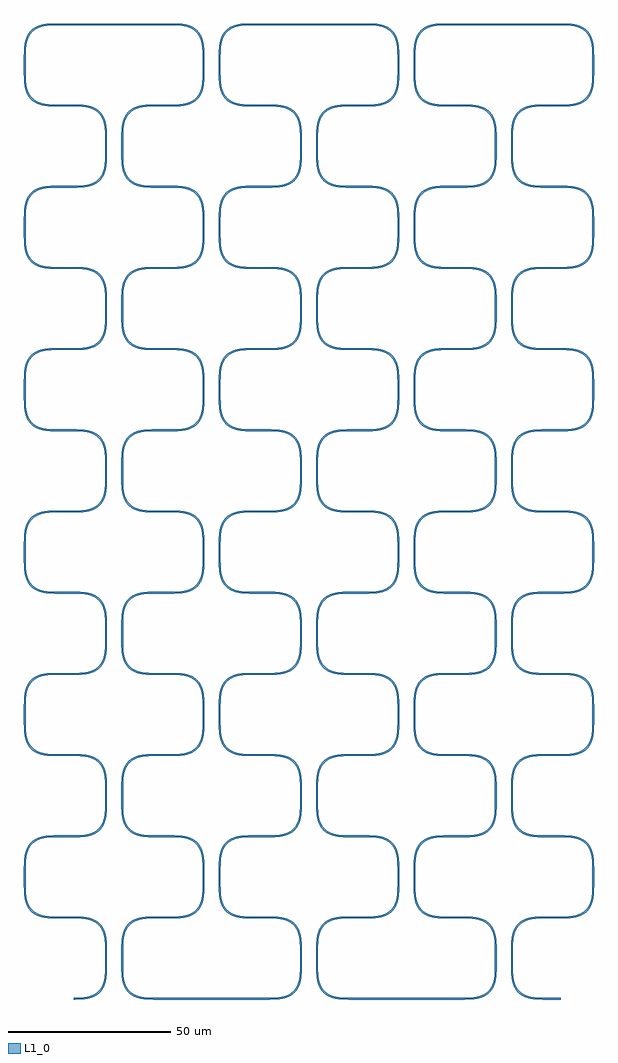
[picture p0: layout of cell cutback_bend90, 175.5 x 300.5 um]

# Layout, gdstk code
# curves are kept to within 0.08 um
from math import pi, radians
import gdstk
lib = gdstk.Library(unit=1e-6, precision=1e-09)
def R(c, l, rs):  # rectangles x0, y0, x1, y1
    for r in rs: c.add(gdstk.rectangle(r[:2], r[2:], *l))
def P(c, l, *ps):  # polygons
    for p in ps: c.add(gdstk.Polygon(p, *l))
L1_0 = (1, 0)

bend_euler = lib.new_cell('bend_euler')
P(bend_euler, L1_0, [(0,-0.25),(2.93,-0.158),(4.865,0.175),(5.829,0.491),(6.664,0.882),(7.404,1.353),(8.073,1.927),(8.647,2.596),(9.118,3.336),(9.509,4.171),(9.825,5.135),(10.158,7.07),(10.25,10),(9.75,10),(9.651,7.025),(9.494,5.933),(9.213,4.826),(8.591,3.419),(7.751,2.313),(7.215,1.837),(6.581,1.409),(5.217,0.801),(4.247,0.542),(2.975,0.349),(0,0.25)])

straight_length5_width50 = lib.new_cell('straight_length5_width500n')
R(straight_length5_width50, L1_0, [(0,-0.25,5,0.25)])

straight_length30_width5 = lib.new_cell('straight_length30_width500n')
R(straight_length30_width5, L1_0, [(0,-0.25,30,0.25)])

cutback_bend90 = lib.new_cell('cutback_bend90')
cutback_bend90.add(gdstk.Reference(bend_euler, (0,0)))
cutback_bend90.add(gdstk.Reference(straight_length5_width50, (10,10), rotation=pi/2))
cutback_bend90.add(gdstk.Reference(bend_euler, (10,15), rotation=pi/2))
cutback_bend90.add(gdstk.Reference(straight_length5_width50, (0,25), rotation=pi))
cutback_bend90.add(gdstk.Reference(bend_euler, (-15,35), rotation=3*pi/2))
cutback_bend90.add(gdstk.Reference(straight_length5_width50, (-15,35), rotation=pi/2))
cutback_bend90.add(gdstk.Reference(bend_euler, (-5,50), rotation=pi))
cutback_bend90.add(gdstk.Reference(straight_length5_width50, (-5,50)))
cutback_bend90.add(gdstk.Reference(bend_euler, (0,50)))
cutback_bend90.add(gdstk.Reference(straight_length5_width50, (10,60), rotation=pi/2))
cutback_bend90.add(gdstk.Reference(bend_euler, (10,65), rotation=pi/2))
cutback_bend90.add(gdstk.Reference(straight_length5_width50, (0,75), rotation=pi))
cutback_bend90.add(gdstk.Reference(bend_euler, (-15,85), rotation=3*pi/2))
cutback_bend90.add(gdstk.Reference(straight_length5_width50, (-15,85), rotation=pi/2))
cutback_bend90.add(gdstk.Reference(bend_euler, (-5,100), rotation=pi))
cutback_bend90.add(gdstk.Reference(straight_length5_width50, (-5,100)))
cutback_bend90.add(gdstk.Reference(bend_euler, (0,100)))
cutback_bend90.add(gdstk.Reference(straight_length5_width50, (10,110), rotation=pi/2))
cutback_bend90.add(gdstk.Reference(bend_euler, (10,115), rotation=pi/2))
cutback_bend90.add(gdstk.Reference(straight_length5_width50, (0,125), rotation=pi))
cutback_bend90.add(gdstk.Reference(bend_euler, (-15,135), rotation=3*pi/2))
cutback_bend90.add(gdstk.Reference(straight_length5_width50, (-15,135), rotation=pi/2))
cutback_bend90.add(gdstk.Reference(bend_euler, (-5,150), rotation=pi))
cutback_bend90.add(gdstk.Reference(straight_length5_width50, (-5,150)))
cutback_bend90.add(gdstk.Reference(bend_euler, (0,150)))
cutback_bend90.add(gdstk.Reference(straight_length5_width50, (10,160), rotation=pi/2))
cutback_bend90.add(gdstk.Reference(bend_euler, (10,165), rotation=pi/2))
cutback_bend90.add(gdstk.Reference(straight_length5_width50, (0,175), rotation=pi))
cutback_bend90.add(gdstk.Reference(bend_euler, (-15,185), rotation=3*pi/2))
cutback_bend90.add(gdstk.Reference(straight_length5_width50, (-15,185), rotation=pi/2))
cutback_bend90.add(gdstk.Reference(bend_euler, (-5,200), rotation=pi))
cutback_bend90.add(gdstk.Reference(straight_length5_width50, (-5,200)))
cutback_bend90.add(gdstk.Reference(bend_euler, (0,200)))
cutback_bend90.add(gdstk.Reference(straight_length5_width50, (10,210), rotation=pi/2))
cutback_bend90.add(gdstk.Reference(bend_euler, (10,215), rotation=pi/2))
cutback_bend90.add(gdstk.Reference(straight_length5_width50, (0,225), rotation=pi))
cutback_bend90.add(gdstk.Reference(bend_euler, (-15,235), rotation=3*pi/2))
cutback_bend90.add(gdstk.Reference(straight_length5_width50, (-15,235), rotation=pi/2))
cutback_bend90.add(gdstk.Reference(bend_euler, (-5,250), rotation=pi))
cutback_bend90.add(gdstk.Reference(straight_length5_width50, (-5,250)))
cutback_bend90.add(gdstk.Reference(bend_euler, (0,250)))
cutback_bend90.add(gdstk.Reference(straight_length5_width50, (10,260), rotation=pi/2))
cutback_bend90.add(gdstk.Reference(bend_euler, (10,265), rotation=pi/2))
cutback_bend90.add(gdstk.Reference(straight_length5_width50, (0,275), rotation=pi))
cutback_bend90.add(gdstk.Reference(bend_euler, (-15,285), rotation=3*pi/2))
cutback_bend90.add(gdstk.Reference(straight_length5_width50, (-15,285), rotation=pi/2))
cutback_bend90.add(gdstk.Reference(bend_euler, (-5,300), rotation=pi))
cutback_bend90.add(gdstk.Reference(straight_length5_width50, (-5,300)))
cutback_bend90.add(gdstk.Reference(straight_length30_width5, (0,300)))
cutback_bend90.add(gdstk.Reference(bend_euler, (40,290), rotation=pi/2))
cutback_bend90.add(gdstk.Reference(straight_length5_width50, (40,290), rotation=3*pi/2))
cutback_bend90.add(gdstk.Reference(bend_euler, (30,275)))
cutback_bend90.add(gdstk.Reference(straight_length5_width50, (30,275), rotation=pi))
cutback_bend90.add(gdstk.Reference(bend_euler, (25,275), rotation=pi))
cutback_bend90.add(gdstk.Reference(straight_length5_width50, (15,265), rotation=3*pi/2))
cutback_bend90.add(gdstk.Reference(bend_euler, (15,260), rotation=3*pi/2))
cutback_bend90.add(gdstk.Reference(straight_length5_width50, (25,250)))
cutback_bend90.add(gdstk.Reference(bend_euler, (40,240), rotation=pi/2))
cutback_bend90.add(gdstk.Reference(straight_length5_width50, (40,240), rotation=3*pi/2))
cutback_bend90.add(gdstk.Reference(bend_euler, (30,225)))
cutback_bend90.add(gdstk.Reference(straight_length5_width50, (30,225), rotation=pi))
cutback_bend90.add(gdstk.Reference(bend_euler, (25,225), rotation=pi))
cutback_bend90.add(gdstk.Reference(straight_length5_width50, (15,215), rotation=3*pi/2))
cutback_bend90.add(gdstk.Reference(bend_euler, (15,210), rotation=3*pi/2))
cutback_bend90.add(gdstk.Reference(straight_length5_width50, (25,200)))
cutback_bend90.add(gdstk.Reference(bend_euler, (40,190), rotation=pi/2))
cutback_bend90.add(gdstk.Reference(straight_length5_width50, (40,190), rotation=3*pi/2))
cutback_bend90.add(gdstk.Reference(bend_euler, (30,175)))
cutback_bend90.add(gdstk.Reference(straight_length5_width50, (30,175), rotation=pi))
cutback_bend90.add(gdstk.Reference(bend_euler, (25,175), rotation=pi))
cutback_bend90.add(gdstk.Reference(straight_length5_width50, (15,165), rotation=3*pi/2))
cutback_bend90.add(gdstk.Reference(bend_euler, (15,160), rotation=3*pi/2))
cutback_bend90.add(gdstk.Reference(straight_length5_width50, (25,150)))
cutback_bend90.add(gdstk.Reference(bend_euler, (40,140), rotation=pi/2))
cutback_bend90.add(gdstk.Reference(straight_length5_width50, (40,140), rotation=3*pi/2))
cutback_bend90.add(gdstk.Reference(bend_euler, (30,125)))
cutback_bend90.add(gdstk.Reference(straight_length5_width50, (30,125), rotation=pi))
cutback_bend90.add(gdstk.Reference(bend_euler, (25,125), rotation=pi))
cutback_bend90.add(gdstk.Reference(straight_length5_width50, (15,115), rotation=3*pi/2))
cutback_bend90.add(gdstk.Reference(bend_euler, (15,110), rotation=3*pi/2))
cutback_bend90.add(gdstk.Reference(straight_length5_width50, (25,100)))
cutback_bend90.add(gdstk.Reference(bend_euler, (40,90), rotation=pi/2))
cutback_bend90.add(gdstk.Reference(straight_length5_width50, (40,90), rotation=3*pi/2))
cutback_bend90.add(gdstk.Reference(bend_euler, (30,75)))
cutback_bend90.add(gdstk.Reference(straight_length5_width50, (30,75), rotation=pi))
cutback_bend90.add(gdstk.Reference(bend_euler, (25,75), rotation=pi))
cutback_bend90.add(gdstk.Reference(straight_length5_width50, (15,65), rotation=3*pi/2))
cutback_bend90.add(gdstk.Reference(bend_euler, (15,60), rotation=3*pi/2))
cutback_bend90.add(gdstk.Reference(straight_length5_width50, (25,50)))
cutback_bend90.add(gdstk.Reference(bend_euler, (40,40), rotation=pi/2))
cutback_bend90.add(gdstk.Reference(straight_length5_width50, (40,40), rotation=3*pi/2))
cutback_bend90.add(gdstk.Reference(bend_euler, (30,25)))
cutback_bend90.add(gdstk.Reference(straight_length5_width50, (30,25), rotation=pi))
cutback_bend90.add(gdstk.Reference(bend_euler, (25,25), rotation=pi))
cutback_bend90.add(gdstk.Reference(straight_length5_width50, (15,15), rotation=3*pi/2))
cutback_bend90.add(gdstk.Reference(bend_euler, (15,10), rotation=3*pi/2))
cutback_bend90.add(gdstk.Reference(straight_length5_width50, (25,0)))
cutback_bend90.add(gdstk.Reference(straight_length30_width5, (30,0)))
cutback_bend90.add(gdstk.Reference(bend_euler, (60,0)))
cutback_bend90.add(gdstk.Reference(straight_length5_width50, (70,10), rotation=pi/2))
cutback_bend90.add(gdstk.Reference(bend_euler, (70,15), rotation=pi/2))
cutback_bend90.add(gdstk.Reference(straight_length5_width50, (60,25), rotation=pi))
cutback_bend90.add(gdstk.Reference(bend_euler, (45,35), rotation=3*pi/2))
cutback_bend90.add(gdstk.Reference(straight_length5_width50, (45,35), rotation=pi/2))
cutback_bend90.add(gdstk.Reference(bend_euler, (55,50), rotation=pi))
cutback_bend90.add(gdstk.Reference(straight_length5_width50, (55,50)))
cutback_bend90.add(gdstk.Reference(bend_euler, (60,50)))
cutback_bend90.add(gdstk.Reference(straight_length5_width50, (70,60), rotation=pi/2))
cutback_bend90.add(gdstk.Reference(bend_euler, (70,65), rotation=pi/2))
cutback_bend90.add(gdstk.Reference(straight_length5_width50, (60,75), rotation=pi))
cutback_bend90.add(gdstk.Reference(bend_euler, (45,85), rotation=3*pi/2))
cutback_bend90.add(gdstk.Reference(straight_length5_width50, (45,85), rotation=pi/2))
cutback_bend90.add(gdstk.Reference(bend_euler, (55,100), rotation=pi))
cutback_bend90.add(gdstk.Reference(straight_length5_width50, (55,100)))
cutback_bend90.add(gdstk.Reference(bend_euler, (60,100)))
cutback_bend90.add(gdstk.Reference(straight_length5_width50, (70,110), rotation=pi/2))
cutback_bend90.add(gdstk.Reference(bend_euler, (70,115), rotation=pi/2))
cutback_bend90.add(gdstk.Reference(straight_length5_width50, (60,125), rotation=pi))
cutback_bend90.add(gdstk.Reference(bend_euler, (45,135), rotation=3*pi/2))
cutback_bend90.add(gdstk.Reference(straight_length5_width50, (45,135), rotation=pi/2))
cutback_bend90.add(gdstk.Reference(bend_euler, (55,150), rotation=pi))
cutback_bend90.add(gdstk.Reference(straight_length5_width50, (55,150)))
cutback_bend90.add(gdstk.Reference(bend_euler, (60,150)))
cutback_bend90.add(gdstk.Reference(straight_length5_width50, (70,160), rotation=pi/2))
cutback_bend90.add(gdstk.Reference(bend_euler, (70,165), rotation=pi/2))
cutback_bend90.add(gdstk.Reference(straight_length5_width50, (60,175), rotation=pi))
cutback_bend90.add(gdstk.Reference(bend_euler, (45,185), rotation=3*pi/2))
cutback_bend90.add(gdstk.Reference(straight_length5_width50, (45,185), rotation=pi/2))
cutback_bend90.add(gdstk.Reference(bend_euler, (55,200), rotation=pi))
cutback_bend90.add(gdstk.Reference(straight_length5_width50, (55,200)))
cutback_bend90.add(gdstk.Reference(bend_euler, (60,200)))
cutback_bend90.add(gdstk.Reference(straight_length5_width50, (70,210), rotation=pi/2))
cutback_bend90.add(gdstk.Reference(bend_euler, (70,215), rotation=pi/2))
cutback_bend90.add(gdstk.Reference(straight_length5_width50, (60,225), rotation=pi))
cutback_bend90.add(gdstk.Reference(bend_euler, (45,235), rotation=3*pi/2))
cutback_bend90.add(gdstk.Reference(straight_length5_width50, (45,235), rotation=pi/2))
cutback_bend90.add(gdstk.Reference(bend_euler, (55,250), rotation=pi))
cutback_bend90.add(gdstk.Reference(straight_length5_width50, (55,250)))
cutback_bend90.add(gdstk.Reference(bend_euler, (60,250)))
cutback_bend90.add(gdstk.Reference(straight_length5_width50, (70,260), rotation=pi/2))
cutback_bend90.add(gdstk.Reference(bend_euler, (70,265), rotation=pi/2))
cutback_bend90.add(gdstk.Reference(straight_length5_width50, (60,275), rotation=pi))
cutback_bend90.add(gdstk.Reference(bend_euler, (45,285), rotation=3*pi/2))
cutback_bend90.add(gdstk.Reference(straight_length5_width50, (45,285), rotation=pi/2))
cutback_bend90.add(gdstk.Reference(bend_euler, (55,300), rotation=pi))
cutback_bend90.add(gdstk.Reference(straight_length5_width50, (55,300)))
cutback_bend90.add(gdstk.Reference(straight_length30_width5, (60,300)))
cutback_bend90.add(gdstk.Reference(bend_euler, (100,290), rotation=pi/2))
cutback_bend90.add(gdstk.Reference(straight_length5_width50, (100,290), rotation=3*pi/2))
cutback_bend90.add(gdstk.Reference(bend_euler, (90,275)))
cutback_bend90.add(gdstk.Reference(straight_length5_width50, (90,275), rotation=pi))
cutback_bend90.add(gdstk.Reference(bend_euler, (85,275), rotation=pi))
cutback_bend90.add(gdstk.Reference(straight_length5_width50, (75,265), rotation=3*pi/2))
cutback_bend90.add(gdstk.Reference(bend_euler, (75,260), rotation=3*pi/2))
cutback_bend90.add(gdstk.Reference(straight_length5_width50, (85,250)))
cutback_bend90.add(gdstk.Reference(bend_euler, (100,240), rotation=pi/2))
cutback_bend90.add(gdstk.Reference(straight_length5_width50, (100,240), rotation=3*pi/2))
cutback_bend90.add(gdstk.Reference(bend_euler, (90,225)))
cutback_bend90.add(gdstk.Reference(straight_length5_width50, (90,225), rotation=pi))
cutback_bend90.add(gdstk.Reference(bend_euler, (85,225), rotation=pi))
cutback_bend90.add(gdstk.Reference(straight_length5_width50, (75,215), rotation=3*pi/2))
cutback_bend90.add(gdstk.Reference(bend_euler, (75,210), rotation=3*pi/2))
cutback_bend90.add(gdstk.Reference(straight_length5_width50, (85,200)))
cutback_bend90.add(gdstk.Reference(bend_euler, (100,190), rotation=pi/2))
cutback_bend90.add(gdstk.Reference(straight_length5_width50, (100,190), rotation=3*pi/2))
cutback_bend90.add(gdstk.Reference(bend_euler, (90,175)))
cutback_bend90.add(gdstk.Reference(straight_length5_width50, (90,175), rotation=pi))
cutback_bend90.add(gdstk.Reference(bend_euler, (85,175), rotation=pi))
cutback_bend90.add(gdstk.Reference(straight_length5_width50, (75,165), rotation=3*pi/2))
cutback_bend90.add(gdstk.Reference(bend_euler, (75,160), rotation=3*pi/2))
cutback_bend90.add(gdstk.Reference(straight_length5_width50, (85,150)))
cutback_bend90.add(gdstk.Reference(bend_euler, (100,140), rotation=pi/2))
cutback_bend90.add(gdstk.Reference(straight_length5_width50, (100,140), rotation=3*pi/2))
cutback_bend90.add(gdstk.Reference(bend_euler, (90,125)))
cutback_bend90.add(gdstk.Reference(straight_length5_width50, (90,125), rotation=pi))
cutback_bend90.add(gdstk.Reference(bend_euler, (85,125), rotation=pi))
cutback_bend90.add(gdstk.Reference(straight_length5_width50, (75,115), rotation=3*pi/2))
cutback_bend90.add(gdstk.Reference(bend_euler, (75,110), rotation=3*pi/2))
cutback_bend90.add(gdstk.Reference(straight_length5_width50, (85,100)))
cutback_bend90.add(gdstk.Reference(bend_euler, (100,90), rotation=pi/2))
cutback_bend90.add(gdstk.Reference(straight_length5_width50, (100,90), rotation=3*pi/2))
cutback_bend90.add(gdstk.Reference(bend_euler, (90,75)))
cutback_bend90.add(gdstk.Reference(straight_length5_width50, (90,75), rotation=pi))
cutback_bend90.add(gdstk.Reference(bend_euler, (85,75), rotation=pi))
cutback_bend90.add(gdstk.Reference(straight_length5_width50, (75,65), rotation=3*pi/2))
cutback_bend90.add(gdstk.Reference(bend_euler, (75,60), rotation=3*pi/2))
cutback_bend90.add(gdstk.Reference(straight_length5_width50, (85,50)))
cutback_bend90.add(gdstk.Reference(bend_euler, (100,40), rotation=pi/2))
cutback_bend90.add(gdstk.Reference(straight_length5_width50, (100,40), rotation=3*pi/2))
cutback_bend90.add(gdstk.Reference(bend_euler, (90,25)))
cutback_bend90.add(gdstk.Reference(straight_length5_width50, (90,25), rotation=pi))
cutback_bend90.add(gdstk.Reference(bend_euler, (85,25), rotation=pi))
cutback_bend90.add(gdstk.Reference(straight_length5_width50, (75,15), rotation=3*pi/2))
cutback_bend90.add(gdstk.Reference(bend_euler, (75,10), rotation=3*pi/2))
cutback_bend90.add(gdstk.Reference(straight_length5_width50, (85,0)))
cutback_bend90.add(gdstk.Reference(straight_length30_width5, (90,0)))
cutback_bend90.add(gdstk.Reference(bend_euler, (120,0)))
cutback_bend90.add(gdstk.Reference(straight_length5_width50, (130,10), rotation=pi/2))
cutback_bend90.add(gdstk.Reference(bend_euler, (130,15), rotation=pi/2))
cutback_bend90.add(gdstk.Reference(straight_length5_width50, (120,25), rotation=pi))
cutback_bend90.add(gdstk.Reference(bend_euler, (105,35), rotation=3*pi/2))
cutback_bend90.add(gdstk.Reference(straight_length5_width50, (105,35), rotation=pi/2))
cutback_bend90.add(gdstk.Reference(bend_euler, (115,50), rotation=pi))
cutback_bend90.add(gdstk.Reference(straight_length5_width50, (115,50)))
cutback_bend90.add(gdstk.Reference(bend_euler, (120,50)))
cutback_bend90.add(gdstk.Reference(straight_length5_width50, (130,60), rotation=pi/2))
cutback_bend90.add(gdstk.Reference(bend_euler, (130,65), rotation=pi/2))
cutback_bend90.add(gdstk.Reference(straight_length5_width50, (120,75), rotation=pi))
cutback_bend90.add(gdstk.Reference(bend_euler, (105,85), rotation=3*pi/2))
cutback_bend90.add(gdstk.Reference(straight_length5_width50, (105,85), rotation=pi/2))
cutback_bend90.add(gdstk.Reference(bend_euler, (115,100), rotation=pi))
cutback_bend90.add(gdstk.Reference(straight_length5_width50, (115,100)))
cutback_bend90.add(gdstk.Reference(bend_euler, (120,100)))
cutback_bend90.add(gdstk.Reference(straight_length5_width50, (130,110), rotation=pi/2))
cutback_bend90.add(gdstk.Reference(bend_euler, (130,115), rotation=pi/2))
cutback_bend90.add(gdstk.Reference(straight_length5_width50, (120,125), rotation=pi))
cutback_bend90.add(gdstk.Reference(bend_euler, (105,135), rotation=3*pi/2))
cutback_bend90.add(gdstk.Reference(straight_length5_width50, (105,135), rotation=pi/2))
cutback_bend90.add(gdstk.Reference(bend_euler, (115,150), rotation=pi))
cutback_bend90.add(gdstk.Reference(straight_length5_width50, (115,150)))
cutback_bend90.add(gdstk.Reference(bend_euler, (120,150)))
cutback_bend90.add(gdstk.Reference(straight_length5_width50, (130,160), rotation=pi/2))
cutback_bend90.add(gdstk.Reference(bend_euler, (130,165), rotation=pi/2))
cutback_bend90.add(gdstk.Reference(straight_length5_width50, (120,175), rotation=pi))
cutback_bend90.add(gdstk.Reference(bend_euler, (105,185), rotation=3*pi/2))
cutback_bend90.add(gdstk.Reference(straight_length5_width50, (105,185), rotation=pi/2))
cutback_bend90.add(gdstk.Reference(bend_euler, (115,200), rotation=pi))
cutback_bend90.add(gdstk.Reference(straight_length5_width50, (115,200)))
cutback_bend90.add(gdstk.Reference(bend_euler, (120,200)))
cutback_bend90.add(gdstk.Reference(straight_length5_width50, (130,210), rotation=pi/2))
cutback_bend90.add(gdstk.Reference(bend_euler, (130,215), rotation=pi/2))
cutback_bend90.add(gdstk.Reference(straight_length5_width50, (120,225), rotation=pi))
cutback_bend90.add(gdstk.Reference(bend_euler, (105,235), rotation=3*pi/2))
cutback_bend90.add(gdstk.Reference(straight_length5_width50, (105,235), rotation=pi/2))
cutback_bend90.add(gdstk.Reference(bend_euler, (115,250), rotation=pi))
cutback_bend90.add(gdstk.Reference(straight_length5_width50, (115,250)))
cutback_bend90.add(gdstk.Reference(bend_euler, (120,250)))
cutback_bend90.add(gdstk.Reference(straight_length5_width50, (130,260), rotation=pi/2))
cutback_bend90.add(gdstk.Reference(bend_euler, (130,265), rotation=pi/2))
cutback_bend90.add(gdstk.Reference(straight_length5_width50, (120,275), rotation=pi))
cutback_bend90.add(gdstk.Reference(bend_euler, (105,285), rotation=3*pi/2))
cutback_bend90.add(gdstk.Reference(straight_length5_width50, (105,285), rotation=pi/2))
cutback_bend90.add(gdstk.Reference(bend_euler, (115,300), rotation=pi))
cutback_bend90.add(gdstk.Reference(straight_length5_width50, (115,300)))
cutback_bend90.add(gdstk.Reference(straight_length30_width5, (120,300)))
cutback_bend90.add(gdstk.Reference(bend_euler, (160,290), rotation=pi/2))
cutback_bend90.add(gdstk.Reference(straight_length5_width50, (160,290), rotation=3*pi/2))
cutback_bend90.add(gdstk.Reference(bend_euler, (150,275)))
cutback_bend90.add(gdstk.Reference(straight_length5_width50, (150,275), rotation=pi))
cutback_bend90.add(gdstk.Reference(bend_euler, (145,275), rotation=pi))
cutback_bend90.add(gdstk.Reference(straight_length5_width50, (135,265), rotation=3*pi/2))
cutback_bend90.add(gdstk.Reference(bend_euler, (135,260), rotation=3*pi/2))
cutback_bend90.add(gdstk.Reference(straight_length5_width50, (145,250)))
cutback_bend90.add(gdstk.Reference(bend_euler, (160,240), rotation=pi/2))
cutback_bend90.add(gdstk.Reference(straight_length5_width50, (160,240), rotation=3*pi/2))
cutback_bend90.add(gdstk.Reference(bend_euler, (150,225)))
cutback_bend90.add(gdstk.Reference(straight_length5_width50, (150,225), rotation=pi))
cutback_bend90.add(gdstk.Reference(bend_euler, (145,225), rotation=pi))
cutback_bend90.add(gdstk.Reference(straight_length5_width50, (135,215), rotation=3*pi/2))
cutback_bend90.add(gdstk.Reference(bend_euler, (135,210), rotation=3*pi/2))
cutback_bend90.add(gdstk.Reference(straight_length5_width50, (145,200)))
cutback_bend90.add(gdstk.Reference(bend_euler, (160,190), rotation=pi/2))
cutback_bend90.add(gdstk.Reference(straight_length5_width50, (160,190), rotation=3*pi/2))
cutback_bend90.add(gdstk.Reference(bend_euler, (150,175)))
cutback_bend90.add(gdstk.Reference(straight_length5_width50, (150,175), rotation=pi))
cutback_bend90.add(gdstk.Reference(bend_euler, (145,175), rotation=pi))
cutback_bend90.add(gdstk.Reference(straight_length5_width50, (135,165), rotation=3*pi/2))
cutback_bend90.add(gdstk.Reference(bend_euler, (135,160), rotation=3*pi/2))
cutback_bend90.add(gdstk.Reference(straight_length5_width50, (145,150)))
cutback_bend90.add(gdstk.Reference(bend_euler, (160,140), rotation=pi/2))
cutback_bend90.add(gdstk.Reference(straight_length5_width50, (160,140), rotation=3*pi/2))
cutback_bend90.add(gdstk.Reference(bend_euler, (150,125)))
cutback_bend90.add(gdstk.Reference(straight_length5_width50, (150,125), rotation=pi))
cutback_bend90.add(gdstk.Reference(bend_euler, (145,125), rotation=pi))
cutback_bend90.add(gdstk.Reference(straight_length5_width50, (135,115), rotation=3*pi/2))
cutback_bend90.add(gdstk.Reference(bend_euler, (135,110), rotation=3*pi/2))
cutback_bend90.add(gdstk.Reference(straight_length5_width50, (145,100)))
cutback_bend90.add(gdstk.Reference(bend_euler, (160,90), rotation=pi/2))
cutback_bend90.add(gdstk.Reference(straight_length5_width50, (160,90), rotation=3*pi/2))
cutback_bend90.add(gdstk.Reference(bend_euler, (150,75)))
cutback_bend90.add(gdstk.Reference(straight_length5_width50, (150,75), rotation=pi))
cutback_bend90.add(gdstk.Reference(bend_euler, (145,75), rotation=pi))
cutback_bend90.add(gdstk.Reference(straight_length5_width50, (135,65), rotation=3*pi/2))
cutback_bend90.add(gdstk.Reference(bend_euler, (135,60), rotation=3*pi/2))
cutback_bend90.add(gdstk.Reference(straight_length5_width50, (145,50)))
cutback_bend90.add(gdstk.Reference(bend_euler, (160,40), rotation=pi/2))
cutback_bend90.add(gdstk.Reference(straight_length5_width50, (160,40), rotation=3*pi/2))
cutback_bend90.add(gdstk.Reference(bend_euler, (150,25)))
cutback_bend90.add(gdstk.Reference(straight_length5_width50, (150,25), rotation=pi))
cutback_bend90.add(gdstk.Reference(bend_euler, (145,25), rotation=pi))
cutback_bend90.add(gdstk.Reference(straight_length5_width50, (135,15), rotation=3*pi/2))
cutback_bend90.add(gdstk.Reference(bend_euler, (135,10), rotation=3*pi/2))
cutback_bend90.add(gdstk.Reference(straight_length5_width50, (145,0)))

lib.write_gds('cutback_bend90.gds')
